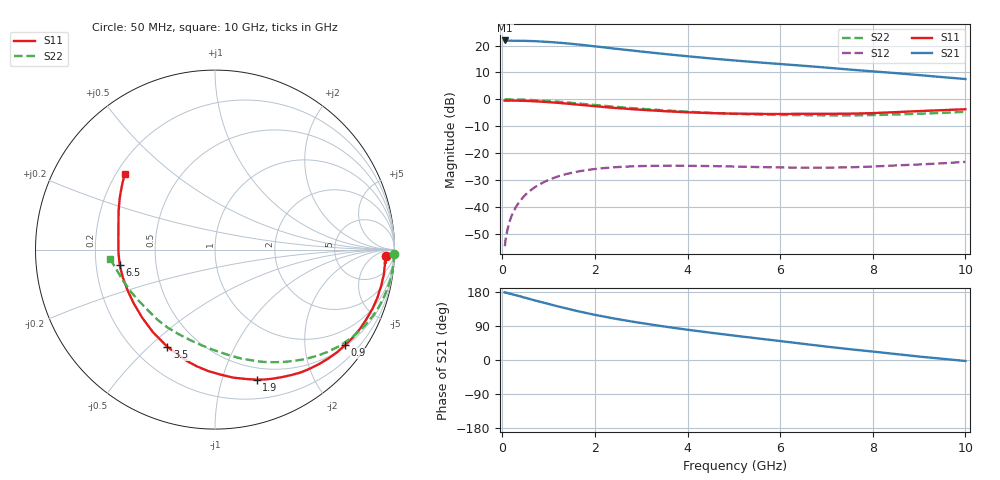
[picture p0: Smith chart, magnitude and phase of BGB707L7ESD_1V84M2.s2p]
!  Infineon Technologies AG
!  BGB707L7ESD
!  Vce = 1.8V, Ic = 4.2mA
!  DATUM: 30.06.2009 10:15:29
# GHz  S  MA  R  50
!f  S11  S21  S12  S22
!GHz  Mag  Ang  Mag  Ang  Mag  Ang  Mag  Ang
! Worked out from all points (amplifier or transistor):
!   52 points, 50 MHz to 10 GHz, reference 50 ohm
!   highest |S21| = 21.9 dB at 60 MHz (marker M1)
!   |S21| within 3 dB of that: start of sweep to 2.412 GHz
!   unconditionally stable (mu >= 1): 6.487 GHz to end of sweep
!   at 130 MHz: K = -0.01, MSG = 34.5 dB, |S12| = -47.2 dB
!   at 1.4 GHz: K = 0.13, MSG = 24.2 dB, |S12| = -27.7 dB
!   at 10 GHz: K = 1.06, MAG = 13.9 dB, |S12| = -23.2 dB
!   S11 on the Smith chart (normalised r, x): 50 MHz: 26, -20; 900 MHz: 0.53, -2.97; 1.9 GHz: 0.38, -1.30; 3.5 GHz: 0.34, -0.57; 6.5 GHz: 0.30, -0.07; 10 GHz: 0.23, +0.34
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0.05  0.9522 -2.1  12.21 178.6  0.001872 88.0  0.9984 -1.3
0.06  0.9563 -2.6  12.43 178.3  0.001967 84.0  0.9986 -1.6
0.08  0.9496 -3.1  12.23 177.5  0.002728 87.1  0.9986 -2.3
0.09  0.954 -3.8  12.34 177.8  0.002968 87.9  0.9989 -2.5
0.1  0.9481 -4.3  12.26 176.9  0.003392 86.1  0.998 -2.8
0.2  0.9514 -8.2  12.32 174.0  0.006843 85.3  0.9964 -5.7
0.5  0.9379 -20.3  12.2 164.2  0.01687 77.3  0.9816 -14.1
0.9  0.8994 -36.3  11.79 151.0  0.02906 66.9  0.9441 -25.1
1.3  0.8475 -51.6  11.16 138.6  0.03912 57.3  0.8906 -35.4
1.5  0.8182 -58.7  10.74 132.6  0.04324 52.9  0.8602 -40.2
1.8  0.7753 -69.0  10.11 124.4  0.04822 47.0  0.8153 -46.8
1.9  0.7602 -72.3  9.885 121.7  0.04956 45.1  0.8005 -48.9
2.2  0.7211 -81.8  9.255 114.4  0.0529 40.2  0.7584 -54.9
2.6  0.6777 -93.3  8.438 105.6  0.0559 34.6  0.7095 -62.1
3  0.6408 -104.0  7.739 97.6  0.05763 30.1  0.6682 -68.8
3.5  0.6032 -116.1  6.975 88.3  0.05853 25.7  0.6255 -76.3
4.5  0.5555 -136.8  5.762 72.0  0.05758 20.4  0.561 -90.4
5.5  0.5375 -155.0  4.888 57.2  0.05529 19.2  0.5229 -105.3
6.5  0.538 -170.9  4.211 42.7  0.05384 21.8  0.5084 -121.0
7  0.5381 -178.5  3.888 35.4  0.05381 23.9  0.5053 -129.2
8.5  0.5793 158.0  3.073 15.7  0.05921 30.7  0.5241 -153.3
10  0.6555 140.2  2.388 -2.6  0.0691 34.3  0.5874 -175.1
